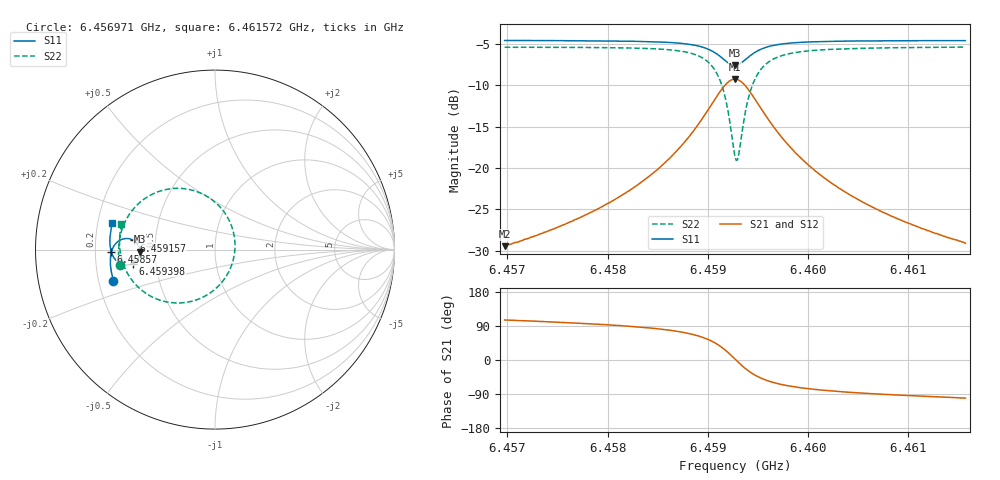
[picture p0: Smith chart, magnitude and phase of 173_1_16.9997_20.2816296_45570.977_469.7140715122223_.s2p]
#  HZ  S  RI  R  50.00
! Rohde & Schwarz Vector Network Analyzer
! Rohde-Schwarz,ZNB20-2Port,1311601062101988,3.16
! Created: UTC 3/20/2024, 10:59:49 PM
! freq[Hz]  re:S11  im:S11  re:S21  im:S21  re:S12  im:S12  re:S22  im:S22
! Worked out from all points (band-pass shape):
!   401 points, 6.456971 GHz to 6.461572 GHz, reference 50 ohm
!   highest |S21| = -9.23 dB at 6.459272 GHz (marker M1); lowest = -29.5 dB at 6.456971 GHz (marker M2)
!   |S21| within 3 dB of the highest: 6.459041 GHz to 6.459501 GHz (460.2 kHz wide, 0.00712 % of centre)
!   lowest |S11| = -7.6 dB at 6.459272 GHz (marker M3), VSWR 2.43, Z = 20.5 - j0.59 ohm
!   |S11| at or under -10 dB: nowhere
!   |S22| runs from -19.1 to -5.4 dB; largest |S21 - S12| = 0.014
!   S11 on the Smith chart (normalised r, x): 6.456971 GHz: 0.26, -0.14; 6.45857 GHz: 0.27, -0.01; 6.459157 GHz: 0.37, +0.05; 6.459398 GHz: 0.37, -0.07; 6.461572 GHz: 0.26, +0.12
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6.4569714e9  -0.5661 -0.1739  -0.00908 0.0324  -0.00739 0.0323  -0.5313 -0.0872
6.457742e9  -0.5803 -0.1066  -0.00582 0.0504  -0.00326 0.0498  -0.5373 0.00294
6.458156e9  -0.5833 -0.0652  -0.00031 0.0692  0.00313 0.0678  -0.5298 0.0681
6.4585125e9  -0.5796 -0.0226  0.0139 0.0988  0.0178 0.096  -0.5044 0.1482
6.45857e9  -0.5777 -0.0148  0.0182 0.1058  0.0222 0.1027  -0.4963 0.1647
6.4587771e9  -0.5648 0.0174  0.0456 0.1383  0.0497 0.1334  -0.445 0.2376
6.4589266e9  -0.5422 0.0438  0.0909 0.1689  0.0941 0.1623  -0.3617 0.3023
6.4590646e9  -0.4983 0.0615  0.1781 0.1856  0.1791 0.1784  -0.2027 0.3414
6.4591566e9  -0.4536 0.0513  0.2681 0.1546  0.2684 0.1488  -0.0362 0.2914
6.4592256e9  -0.4244 0.0191  0.3287 0.0828  0.3308 0.0775  0.0793 0.1622
6.4592716e9  -0.4176 -0.0119  0.3451 0.0151  0.3488 0.00802  0.1114 0.0355
6.4592831e9  -0.418 -0.0199  0.345 -0.00282  0.3489 -0.0103  0.1113 0.002
6.4593061e9  -0.4216 -0.0356  0.3396 -0.0375  0.3433 -0.0467  0.1001 -0.0635
6.4593521e9  -0.4371 -0.0616  0.3109 -0.0973  0.3132 -0.1093  0.0429 -0.1763
6.4593981e9  -0.4591 -0.078  0.269 -0.1383  0.2683 -0.1516  -0.0418 -0.2511
6.4594901e9  -0.5026 -0.0849  0.1845 -0.1696  0.1784 -0.1811  -0.21 -0.2975
6.4596396e9  -0.5465 -0.0645  0.0967 -0.156  0.0883 -0.1623  -0.377 -0.2487
6.4598006e9  -0.5681 -0.037  0.0518 -0.1284  0.0442 -0.1312  -0.4576 -0.1772
6.4600422e9  -0.5809 -0.00147  0.0227 -0.0969  0.0168 -0.0976  -0.5058 -0.0949
6.4604102e9  -0.5857 0.0421  0.00586 -0.0691  0.00193 -0.0685  -0.5282 -0.012
6.4608127e9  -0.5838 0.0823  -0.00118 -0.0517  -0.00405 -0.051  -0.532 0.0519
6.4615718e9  -0.5717 0.1497  -0.00644 -0.0345  -0.00807 -0.0336  -0.5212 0.1415
